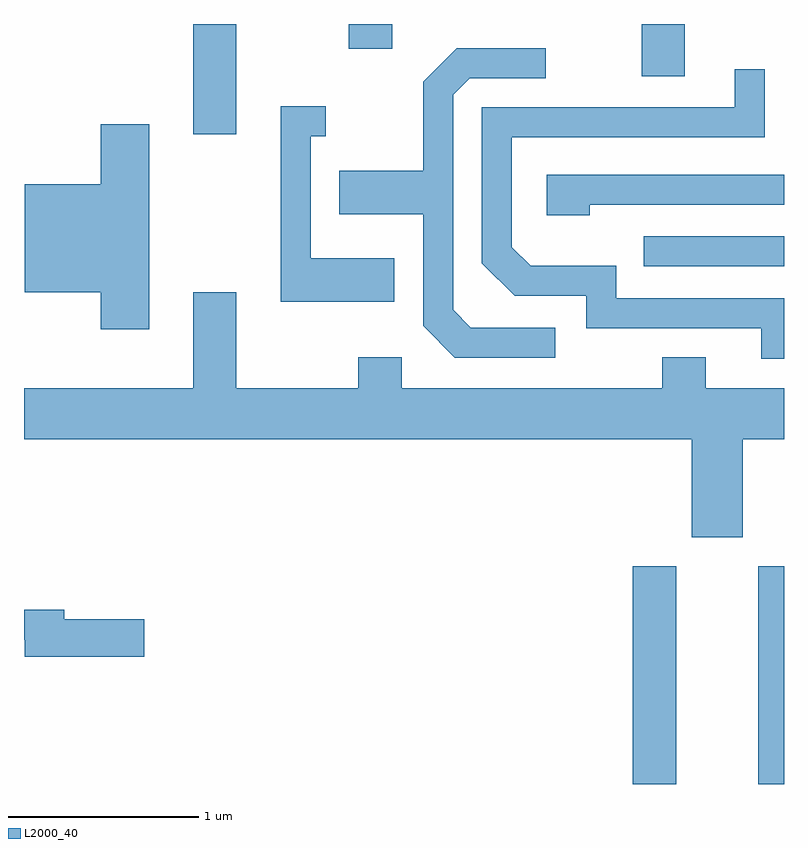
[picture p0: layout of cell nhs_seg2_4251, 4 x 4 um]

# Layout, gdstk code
import gdstk
lib = gdstk.Library(unit=1e-6, precision=1e-09)
def R(c, l, rs):  # rectangles x0, y0, x1, y1
    for r in rs: c.add(gdstk.rectangle(r[:2], r[2:], *l))
def P(c, l, *ps):  # polygons
    for p in ps: c.add(gdstk.Polygon(p, *l))
L2000_40 = (2000, 40)

nhs_seg2_4251 = lib.new_cell('nhs_seg2_4251')
R(nhs_seg2_4251, L2000_40, [(312.816,1079.802,313.044,1080.949), (313.476,1079.802,313.611,1080.949), (312.873,1082.526,313.611,1082.684), (310.501,1083.221,310.729,1083.802), (312.861,1083.526,313.089,1083.802), (311.321,1083.671,311.549,1083.802)])
P(nhs_seg2_4251, L2000_40, [(312.408,1082.204),(311.962,1082.204),(311.869,1082.297),(311.869,1083.429),(311.957,1083.516),(312.358,1083.516),(312.358,1083.674),(311.889,1083.674),(311.711,1083.497),(311.711,1083.029),(311.271,1083.029),(311.271,1082.801),(311.711,1082.801),(311.711,1082.214),(311.879,1082.046),(312.408,1082.046)],
  [(313.611,1082.359),(312.729,1082.359),(312.729,1082.529),(312.277,1082.529),(312.179,1082.627),(312.179,1083.206),(313.509,1083.206),(313.509,1083.563),(313.351,1083.563),(313.351,1083.364),(312.021,1083.364),(312.021,1082.544),(312.194,1082.371),(312.571,1082.371),(312.571,1082.201),(313.491,1082.201),(313.491,1082.041),(313.611,1082.041)],
  [(311.559,1082.569),(311.119,1082.569),(311.119,1083.211),(311.198,1083.211),(311.198,1083.369),(310.961,1083.369),(310.961,1082.341),(311.559,1082.341)],
  [(310.269,1083.274),(310.016,1083.274),(310.016,1082.959),(309.616,1082.959),(309.616,1082.391),(310.016,1082.391),(310.016,1082.196),(310.269,1082.196)],
  [(312.589,1082.851),(313.611,1082.851),(313.611,1083.009),(312.361,1083.009),(312.361,1082.796),(312.589,1082.796)],
  [(313.394,1081.616),(313.611,1081.616),(313.611,1081.884),(313.199,1081.884),(313.199,1082.049),(312.971,1082.049),(312.971,1081.884),(311.599,1081.884),(311.599,1082.049),(311.371,1082.049),(311.371,1081.884),(310.729,1081.884),(310.729,1082.389),(310.501,1082.389),(310.501,1081.884),(309.611,1081.884),(309.611,1081.616),(313.126,1081.616),(313.126,1081.101),(313.394,1081.101)],
  [(310.244,1080.669),(309.824,1080.669),(309.824,1080.719),(309.611,1080.719),(309.611,1080.561),(309.616,1080.561),(309.616,1080.471),(310.244,1080.471)])

lib.write_gds('nhs_seg2_4251.gds')
